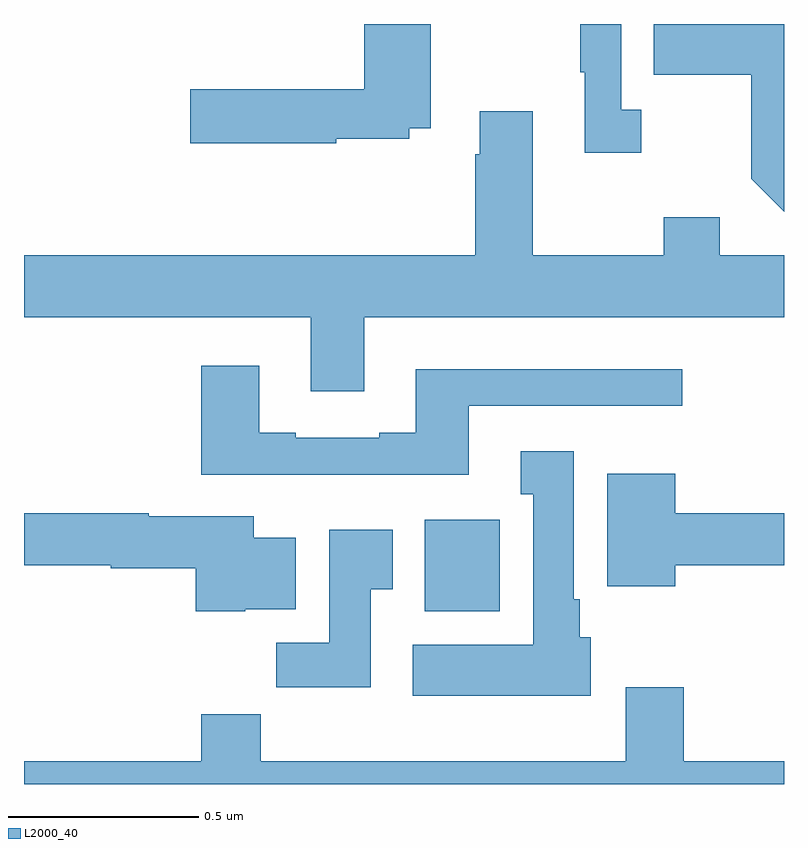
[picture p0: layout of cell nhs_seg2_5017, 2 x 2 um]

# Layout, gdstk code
import gdstk
lib = gdstk.Library(unit=1e-6, precision=1e-09)
def R(c, l, rs):  # rectangles x0, y0, x1, y1
    for r in rs: c.add(gdstk.rectangle(r[:2], r[2:], *l))
def P(c, l, *ps):  # polygons
    for p in ps: c.add(gdstk.Polygon(p, *l))
L2000_40 = (2000, 40)

nhs_seg2_5017 = lib.new_cell('nhs_seg2_5017')
R(nhs_seg2_5017, L2000_40, [(175.055,588.254,175.252,588.496)])
P(nhs_seg2_5017, L2000_40, [(176,589.8),(175.657,589.8),(175.657,589.666),(175.914,589.666),(175.914,589.393),(176,589.306)],
  [(175.624,589.574),(175.572,589.574),(175.572,589.8),(175.464,589.8),(175.464,589.673),(175.475,589.673),(175.475,589.461),(175.624,589.461)],
  [(174.822,589.498),(175.014,589.498),(175.014,589.526),(175.071,589.526),(175.071,589.8),(174.896,589.8),(174.896,589.628),(174.438,589.628),(174.438,589.486),(174.822,589.486)],
  [(174.895,589.028),(176,589.028),(176,589.192),(175.831,589.192),(175.831,589.291),(175.684,589.291),(175.684,589.192),(175.339,589.192),(175.339,589.57),(175.199,589.57),(175.199,589.457),(175.187,589.457),(175.187,589.192),(174,589.192),(174,589.028),(174.755,589.028),(174.755,588.834),(174.895,588.834)],
  [(175.171,588.795),(175.732,588.795),(175.732,588.892),(175.031,588.892),(175.031,588.724),(174.935,588.724),(174.935,588.711),(174.715,588.711),(174.715,588.724),(174.619,588.724),(174.619,588.901),(174.467,588.901),(174.467,588.614),(175.171,588.614)],
  [(175.492,588.186),(175.462,588.186),(175.462,588.286),(175.447,588.286),(175.447,588.676),(175.307,588.676),(175.307,588.563),(175.34,588.563),(175.34,588.166),(175.023,588.166),(175.023,588.032),(175.492,588.032)],
  [(175.714,588.376),(176,588.376),(176,588.512),(175.714,588.512),(175.714,588.616),(175.535,588.616),(175.535,588.32),(175.714,588.32)],
  [(174.582,588.26),(174.715,588.26),(174.715,588.448),(174.604,588.448),(174.604,588.505),(174.328,588.505),(174.328,588.512),(174,588.512),(174,588.376),(174.228,588.376),(174.228,588.368),(174.452,588.368),(174.452,588.254),(174.582,588.254)],
  [(174.913,588.313),(174.97,588.313),(174.97,588.469),(174.803,588.469),(174.803,588.172),(174.664,588.172),(174.664,588.054),(174.913,588.054)],
  [(176,587.86),(175.736,587.86),(175.736,588.055),(175.583,588.055),(175.583,587.86),(174.623,587.86),(174.623,587.984),(174.467,587.984),(174.467,587.86),(174,587.86),(174,587.8),(176,587.8)])

lib.write_gds('nhs_seg2_5017.gds')
